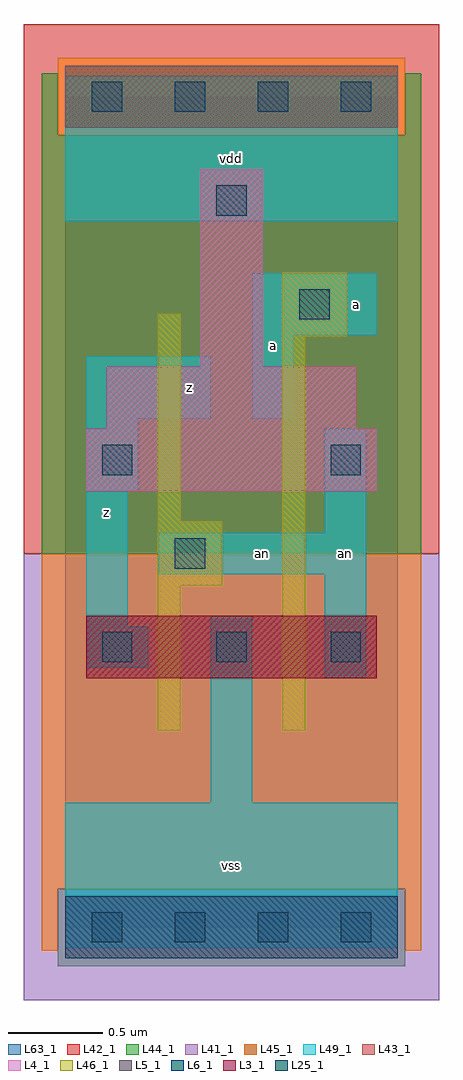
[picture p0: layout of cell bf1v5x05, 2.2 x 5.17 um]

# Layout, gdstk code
import gdstk
lib = gdstk.Library(unit=1e-6, precision=1e-09)
def R(c, l, rs):  # rectangles x0, y0, x1, y1
    for r in rs: c.add(gdstk.rectangle(r[:2], r[2:], *l))
def A(c, l, x, y, w, h, nx, ny, dx, dy):  # array of equal rectangles
    R(c, l, [(x+i*dx, y+j*dy, x+i*dx+w, y+j*dy+h) for i in range(nx) for j in range(ny)])
L3_1 = (3, 1)
L4_1 = (4, 1)
L5_1 = (5, 1)
L6_1 = (6, 1)
L25_1 = (25, 1)
L41_1 = (41, 1)
L42_1 = (42, 1)
L43_1 = (43, 1)
L44_1 = (44, 1)
L45_1 = (45, 1)
L46_1 = (46, 1)
L49_1 = (49, 1)
L63_1 = (63, 1)

bf1v5x05 = lib.new_cell('bf1v5x05')
R(bf1v5x05, L3_1, [(0.11,1.32,1.65,1.65)])
R(bf1v5x05, L4_1, [(0.11,2.31,1.65,2.64), (0.22,2.64,1.54,2.97), (0.715,2.97,1.045,4.015)])
R(bf1v5x05, L5_1, [(0,4.235,1.76,4.565)])
R(bf1v5x05, L6_1, [(0,-0.165,1.76,0.165)])
A(bf1v5x05, L25_1, 0.14, -0.08, 0.16, 0.16, 4, 2, 0.44, 4.4)
A(bf1v5x05, L25_1, 0.195, 1.405, 0.16, 0.16, 3, 1, 0.605, 0)
R(bf1v5x05, L25_1, [(0.58,1.9,0.74,2.06), (0.195,2.395,0.355,2.555), (1.405,2.395,1.565,2.555), (1.24,3.22,1.4,3.38), (0.8,3.77,0.96,3.93)])
R(bf1v5x05, L41_1, [(-0.22,-0.385,1.98,1.98)])
R(bf1v5x05, L42_1, [(-0.22,1.98,1.98,4.785)])
R(bf1v5x05, L43_1, [(0,-0.165,1.76,0.165), (0.11,1.32,1.65,1.65), (0.11,2.31,1.65,2.64), (0.22,2.64,1.54,2.97), (0.715,2.97,1.045,4.015), (0,4.235,1.76,4.565)])
R(bf1v5x05, L44_1, [(-0.04,-0.205,1.8,0.205), (-0.125,1.98,1.885,4.195), (-0.125,4.195,-0.04,4.525), (1.8,4.195,1.885,4.525)])
R(bf1v5x05, L45_1, [(-0.125,-0.125,-0.04,0.205), (1.8,-0.125,1.885,0.205), (-0.125,0.205,1.885,1.98), (-0.04,4.195,1.8,4.605)])
R(bf1v5x05, L46_1, [(0.49,1.04,0.61,1.81), (1.15,1.04,1.27,3.13), (0.49,1.81,0.83,2.15), (0.49,2.15,0.61,3.25), (1.15,3.13,1.49,3.47)])
R(bf1v5x05, L49_1, [(0,-0.11,1.76,0.66), (0.77,0.66,0.99,1.65), (1.375,1.32,1.595,1.87), (0.11,1.375,0.44,1.595), (0.11,1.595,0.33,2.31), (0.495,1.87,1.595,2.09), (1.375,2.09,1.595,2.64), (0.11,2.31,0.385,2.695), (0.11,2.695,0.77,3.025), (0.99,2.695,1.21,3.135), (0.99,3.135,1.65,3.465), (0,3.74,1.76,4.51)])
R(bf1v5x05, L63_1, [(0,0,1.76,4.4)])
bf1v5x05.add(gdstk.Label('z', (0.22,2.2), layer=49, texttype=1))
bf1v5x05.add(gdstk.Label('z', (0.66,2.86), layer=49, texttype=1))
bf1v5x05.add(gdstk.Label('vss', (0.88,0.33), layer=49, texttype=1))
bf1v5x05.add(gdstk.Label('a', (1.1,3.08), layer=49, texttype=1))
bf1v5x05.add(gdstk.Label('vdd', (0.88,4.07), layer=49, texttype=1))
bf1v5x05.add(gdstk.Label('an', (1.045,1.98), layer=49, texttype=1))
bf1v5x05.add(gdstk.Label('an', (1.485,1.98), layer=49, texttype=1))
bf1v5x05.add(gdstk.Label('a', (1.54,3.3), layer=49, texttype=1))

lib.write_gds('bf1v5x05.gds')
